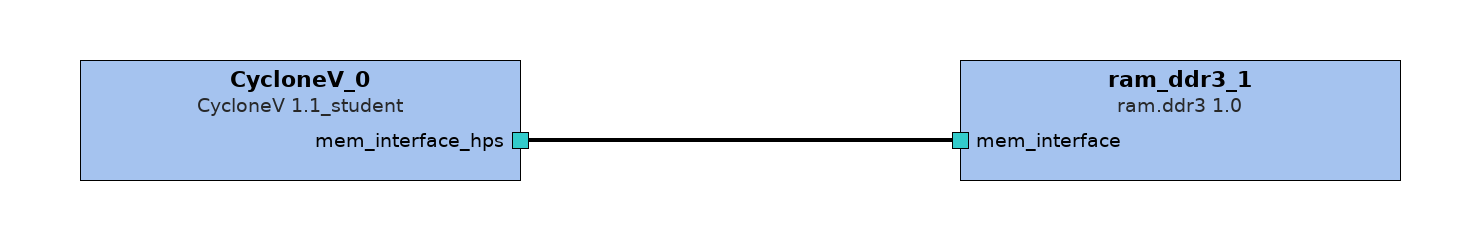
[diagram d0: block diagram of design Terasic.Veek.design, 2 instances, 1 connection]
<?xml version="1.0" encoding="UTF-8"?>
<ipxact:design xmlns:xsi="http://www.w3.org/2001/XMLSchema-instance" xmlns:ipxact="http://www.accellera.org/XMLSchema/IPXACT/1685-2014" xmlns:kactus2="http://kactus2.cs.tut.fi" xsi:schemaLocation="http://www.accellera.org/XMLSchema/IPXACT/1685-2014 http://www.accellera.org/XMLSchema/IPXACT/1685-2014/index.xsd"><ipxact:vendor>TUNI.fi</ipxact:vendor><ipxact:library>board</ipxact:library><ipxact:name>Terasic.Veek.design</ipxact:name>
 <ipxact:version>1.2_student</ipxact:version>
 <ipxact:componentInstances><ipxact:componentInstance><ipxact:instanceName>ram_ddr3_1</ipxact:instanceName><ipxact:componentRef vendor="TUNI.fi" library="ip.hwp.mem" name="ram.ddr3" version="1.0"/></ipxact:componentInstance><ipxact:componentInstance><ipxact:instanceName>CycloneV_0</ipxact:instanceName><ipxact:componentRef vendor="TUNI.fi" library="chip" name="CycloneV" version="1.1_student"/></ipxact:componentInstance></ipxact:componentInstances>
 <ipxact:interconnections><ipxact:interconnection><ipxact:name>ram_ddr3_1_mem_interface_to_CycloneV_0_mem_interface_hps</ipxact:name><ipxact:activeInterface componentRef="ram_ddr3_1" busRef="mem_interface"/><ipxact:activeInterface componentRef="CycloneV_0" busRef="mem_interface_hps"/></ipxact:interconnection></ipxact:interconnections>
</ipxact:design>
<!-- note: WRITE: U.7 end U.8 end U.9 end K.7 end K.8 end K.9 end K.10 end READ: U.17 start U.18 start U.19 start K.17 start K.18 start K.19 start K.20 start -->

